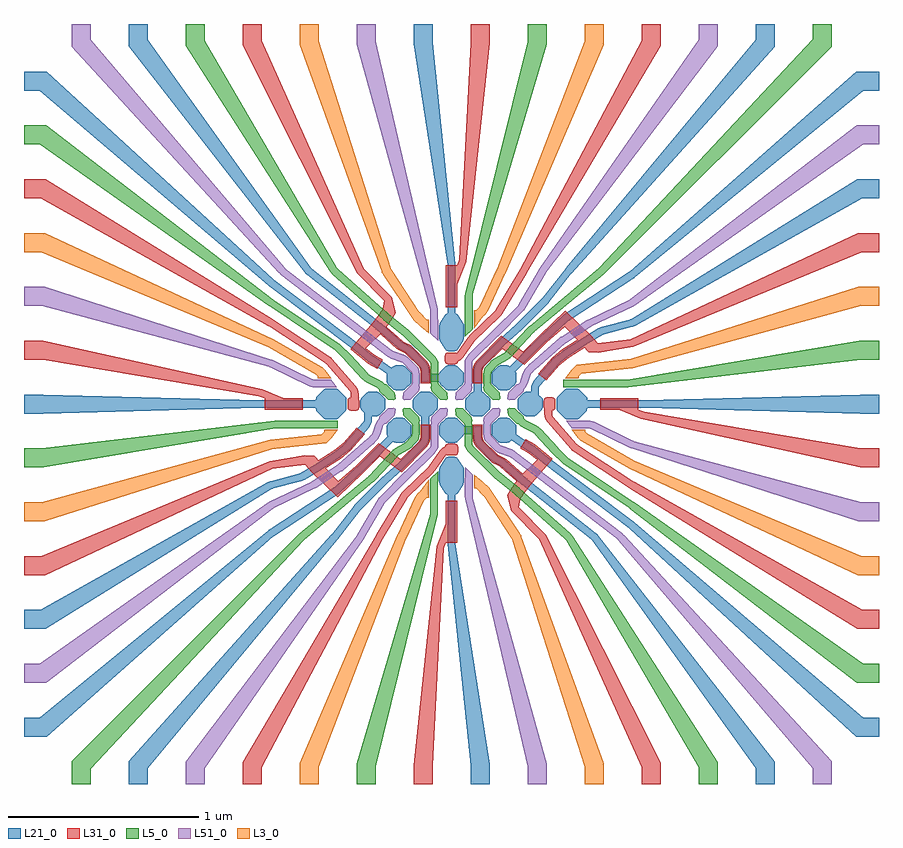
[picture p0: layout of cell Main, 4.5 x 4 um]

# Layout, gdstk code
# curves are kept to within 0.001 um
import gdstk
lib = gdstk.Library(unit=1e-6, precision=1e-09)
def R(c, l, rs):  # rectangles x0, y0, x1, y1
    for r in rs: c.add(gdstk.rectangle(r[:2], r[2:], *l))
def P(c, l, *ps):  # polygons
    for p in ps: c.add(gdstk.Polygon(p, *l))
L3_0 = (3, 0)
L5_0 = (5, 0)
L21_0 = (21, 0)
L31_0 = (31, 0)
L51_0 = (51, 0)

main = lib.new_cell('Main')
P(main, L3_0, [(-0.119,0.373),(-0.119,0.443),(-0.129,0.443),(-0.164,0.408)],
  [(0.119,0.398),(0.119,0.493),(0.129,0.493),(0.164,0.458)],
  [(0.599,0.135),(0.669,0.135),(0.669,0.145),(0.633,0.18)],
  [(0.634,-0.135),(0.704,-0.135),(0.704,-0.145),(0.668,-0.18)],
  [(-0.119,-0.398),(-0.119,-0.493),(-0.129,-0.493),(-0.164,-0.458)],
  [(0.119,-0.373),(0.119,-0.443),(0.129,-0.443),(0.164,-0.408)],
  [(-0.599,-0.135),(-0.669,-0.135),(-0.669,-0.145),(-0.633,-0.18)],
  [(-0.634,0.135),(-0.704,0.135),(-0.704,0.145),(-0.668,0.18)],
  [(-0.104,0.378),(-0.104,0.378),(-0.104,0.378),(-0.104,0.378),(-0.104,0.378),(-0.104,0.378),(-0.104,0.378),(-0.104,0.378),(-0.104,0.378)],
  [(0.104,0.378),(0.104,0.378),(0.104,0.378),(0.104,0.378),(0.104,0.378),(0.104,0.378),(0.104,0.378),(0.104,0.378),(0.104,0.378)],
  [(-0.644,-0.12),(-0.644,-0.12),(-0.644,-0.12),(-0.644,-0.12),(-0.644,-0.12),(-0.644,-0.12),(-0.644,-0.12),(-0.644,-0.12),(-0.644,-0.12)],
  [(-0.674,0.12),(-0.674,0.12),(-0.674,0.12),(-0.674,0.12),(-0.674,0.12),(-0.674,0.12),(-0.674,0.12),(-0.674,0.12),(-0.674,0.12)],
  [(0.104,-0.378),(0.104,-0.378),(0.104,-0.378),(0.104,-0.378),(0.104,-0.378),(0.104,-0.378),(0.104,-0.378),(0.104,-0.378),(0.104,-0.378)],
  [(-0.104,-0.378),(-0.104,-0.378),(-0.104,-0.378),(-0.104,-0.378),(-0.104,-0.378),(-0.104,-0.378),(-0.104,-0.378),(-0.104,-0.378),(-0.104,-0.378)],
  [(0.644,0.12),(0.644,0.12),(0.644,0.12),(0.644,0.12),(0.644,0.12),(0.644,0.12),(0.644,0.12),(0.644,0.12),(0.644,0.12)],
  [(0.674,-0.12),(0.674,-0.12),(0.674,-0.12),(0.674,-0.12),(0.674,-0.12),(0.674,-0.12),(0.674,-0.12),(0.674,-0.12),(0.674,-0.12)],
  [(-0.164,0.408),(-0.129,0.443),(-0.169,0.483),(-0.321,0.714),(-0.7,1.908),(-0.7,2),(-0.8,2),(-0.8,1.891),(-0.366,0.692),(-0.36,0.681),(-0.21,0.456),(-0.201,0.444)],
  [(0.129,0.493),(0.164,0.458),(0.184,0.478),(0.193,0.493),(0.285,0.689),(0.8,1.89),(0.8,2),(0.7,2),(0.7,1.909),(0.24,0.711),(0.148,0.514),(0.145,0.509)],
  [(0.704,-0.145),(0.668,-0.18),(0.681,-0.193),(0.938,-0.342),(2.139,-0.9),(2.25,-0.9),(2.25,-0.8),(2.16,-0.8),(0.961,-0.298),(0.711,-0.153)],
  [(0.633,0.18),(0.669,0.145),(0.682,0.159),(0.955,0.189),(2.157,0.517),(2.25,0.517),(2.25,0.617),(2.142,0.617),(0.945,0.238),(0.66,0.207)],
  [(0.164,-0.408),(0.129,-0.443),(0.169,-0.483),(0.321,-0.714),(0.7,-1.908),(0.7,-2),(0.8,-2),(0.8,-1.891),(0.366,-0.692),(0.36,-0.681),(0.21,-0.456),(0.201,-0.444)],
  [(-0.129,-0.493),(-0.164,-0.458),(-0.184,-0.478),(-0.193,-0.493),(-0.285,-0.689),(-0.8,-1.89),(-0.8,-2),(-0.7,-2),(-0.7,-1.909),(-0.24,-0.711),(-0.148,-0.514),(-0.145,-0.509)],
  [(-0.704,0.145),(-0.668,0.18),(-0.681,0.193),(-0.938,0.342),(-2.139,0.9),(-2.25,0.9),(-2.25,0.8),(-2.16,0.8),(-0.961,0.298),(-0.711,0.153)],
  [(-0.633,-0.18),(-0.669,-0.145),(-0.682,-0.159),(-0.955,-0.189),(-2.157,-0.517),(-2.25,-0.517),(-2.25,-0.617),(-2.142,-0.617),(-0.945,-0.238),(-0.66,-0.207)])
R(main, L5_0, [(-0.669,-0.127,-0.599,-0.088), (0.589,0.088,0.659,0.127)])
P(main, L5_0, [(0.167,0.086),(0.173,0.068),(0.217,0.023),(0.248,0.019),(0.257,0.028),(0.253,0.058),(0.208,0.103),(0.19,0.109),(0.178,0.106),(0.169,0.098)],
  [(-0.167,-0.086),(-0.173,-0.068),(-0.217,-0.023),(-0.248,-0.019),(-0.257,-0.028),(-0.253,-0.058),(-0.208,-0.103),(-0.19,-0.109),(-0.178,-0.106),(-0.169,-0.098)],
  [(-0.109,0.086),(-0.103,0.068),(-0.058,0.023),(-0.028,0.019),(-0.019,0.028),(-0.023,0.058),(-0.068,0.103),(-0.086,0.109),(-0.098,0.106),(-0.106,0.098)],
  [(0.109,-0.086),(0.103,-0.068),(0.058,-0.023),(0.028,-0.019),(0.019,-0.028),(0.023,-0.058),(0.068,-0.103),(0.086,-0.109),(0.098,-0.106),(0.106,-0.098)],
  [(-0.384,0.086),(-0.379,0.068),(-0.334,0.023),(-0.303,0.019),(-0.294,0.028),(-0.299,0.058),(-0.344,0.103),(-0.362,0.109),(-0.373,0.106),(-0.382,0.098)],
  [(0.384,-0.086),(0.379,-0.068),(0.334,-0.023),(0.303,-0.019),(0.294,-0.028),(0.299,-0.058),(0.344,-0.103),(0.362,-0.109),(0.373,-0.106),(0.382,-0.098)],
  [(0.071,0.353),(0.071,0.463),(0.111,0.463),(0.111,0.393)],
  [(-0.071,-0.353),(-0.072,-0.463),(-0.111,-0.463),(-0.111,-0.393)],
  [(0.071,0.418),(0.111,0.418),(0.112,0.576),(0.5,1.893),(0.5,2),(0.4,2),(0.4,1.906),(0.074,0.59),(0.071,0.571)],
  [(0.624,0.127),(0.624,0.088),(0.93,0.088),(2.153,0.233),(2.25,0.233),(2.25,0.333),(2.146,0.333),(0.924,0.128)],
  [(-0.072,-0.418),(-0.112,-0.418),(-0.112,-0.576),(-0.5,-1.893),(-0.5,-2),(-0.4,-2),(-0.4,-1.906),(-0.074,-0.59),(-0.072,-0.577)],
  [(-0.624,-0.128),(-0.624,-0.088),(-0.93,-0.088),(-2.153,-0.233),(-2.25,-0.233),(-2.25,-0.333),(-2.146,-0.333),(-0.924,-0.128)],
  [(-0.359,0.055),(-0.331,0.083),(-0.364,0.116),(-0.371,0.121),(-0.437,0.155),(-0.533,0.261),(-0.582,0.31),(-0.938,0.549),(-2.133,1.467),(-2.25,1.467),(-2.25,1.367),(-2.166,1.367),(-0.962,0.517),(-0.61,0.281),(-0.561,0.232),(-0.463,0.125),(-0.448,0.115),(-0.392,0.087)],
  [(-0.084,0.056),(-0.054,0.082),(-0.066,0.097),(-0.068,0.104),(-0.069,0.203),(-0.071,0.221),(-0.078,0.238),(-0.089,0.252),(-0.225,0.388),(-0.333,0.475),(-0.601,0.714),(-1.3,1.913),(-1.3,2),(-1.4,2),(-1.4,1.885),(-0.633,0.69),(-0.624,0.68),(-0.358,0.444),(-0.248,0.355),(-0.118,0.224),(-0.113,0.218),(-0.11,0.211),(-0.109,0.203),(-0.109,0.111),(-0.107,0.095),(-0.101,0.079)],
  [(0.192,0.056),(0.222,0.082),(0.21,0.097),(0.207,0.111),(0.208,0.163),(0.211,0.17),(0.216,0.176),(0.245,0.205),(0.296,0.233),(0.308,0.242),(0.433,0.377),(0.801,0.683),(2,1.879),(2,2),(1.9,2),(1.9,1.92),(0.777,0.715),(0.408,0.408),(0.282,0.272),(0.223,0.238),(0.213,0.23),(0.187,0.204),(0.176,0.19),(0.169,0.173),(0.167,0.155),(0.167,0.111),(0.169,0.095),(0.174,0.079)],
  [(-0.192,-0.056),(-0.222,-0.082),(-0.21,-0.097),(-0.207,-0.111),(-0.208,-0.163),(-0.211,-0.17),(-0.216,-0.176),(-0.245,-0.205),(-0.296,-0.233),(-0.308,-0.242),(-0.433,-0.377),(-0.801,-0.683),(-2,-1.879),(-2,-2),(-1.9,-2),(-1.9,-1.92),(-0.777,-0.715),(-0.408,-0.408),(-0.282,-0.272),(-0.223,-0.238),(-0.213,-0.23),(-0.187,-0.204),(-0.176,-0.19),(-0.169,-0.173),(-0.167,-0.155),(-0.167,-0.111),(-0.169,-0.095),(-0.174,-0.079)],
  [(-0.192,-0.056),(-0.222,-0.082),(-0.21,-0.097),(-0.207,-0.111),(-0.208,-0.163),(-0.211,-0.17),(-0.216,-0.176),(-0.245,-0.205),(-0.296,-0.233),(-0.308,-0.242),(-0.433,-0.377),(-0.801,-0.683),(-2,-1.879),(-2,-2),(-1.9,-2),(-1.9,-1.92),(-0.777,-0.715),(-0.408,-0.408),(-0.282,-0.272),(-0.223,-0.238),(-0.213,-0.23),(-0.187,-0.204),(-0.176,-0.19),(-0.169,-0.173),(-0.167,-0.155),(-0.167,-0.111),(-0.169,-0.095),(-0.174,-0.079)],
  [(0.084,-0.056),(0.054,-0.082),(0.066,-0.097),(0.068,-0.104),(0.069,-0.203),(0.071,-0.221),(0.078,-0.238),(0.089,-0.252),(0.225,-0.388),(0.333,-0.475),(0.601,-0.714),(1.3,-1.913),(1.3,-2),(1.4,-2),(1.4,-1.885),(0.633,-0.69),(0.624,-0.68),(0.358,-0.444),(0.248,-0.355),(0.118,-0.224),(0.113,-0.218),(0.11,-0.211),(0.109,-0.203),(0.109,-0.111),(0.107,-0.095),(0.101,-0.079)],
  [(0.359,-0.055),(0.331,-0.083),(0.364,-0.116),(0.371,-0.121),(0.437,-0.155),(0.533,-0.261),(0.582,-0.31),(0.938,-0.549),(2.133,-1.467),(2.25,-1.467),(2.25,-1.367),(2.166,-1.367),(0.962,-0.517),(0.61,-0.281),(0.561,-0.232),(0.463,-0.125),(0.448,-0.115),(0.392,-0.087)])
P(main, L21_0, [(-0.211,-0.111),(-0.247,-0.076),(-0.257,-0.073),(-0.3,-0.074),(-0.309,-0.079),(-0.338,-0.109),(-0.341,-0.119),(-0.341,-0.157),(-0.338,-0.167),(-0.309,-0.197),(-0.3,-0.202),(-0.257,-0.203),(-0.247,-0.2),(-0.213,-0.167),(-0.211,-0.162)],
  [(-0.211,0.165),(-0.247,0.2),(-0.257,0.203),(-0.3,0.202),(-0.309,0.197),(-0.338,0.167),(-0.341,0.157),(-0.341,0.119),(-0.338,0.109),(-0.309,0.079),(-0.3,0.074),(-0.257,0.073),(-0.247,0.076),(-0.213,0.109),(-0.211,0.114)],
  [(0.065,-0.111),(0.033,-0.079),(0.024,-0.074),(-0.019,-0.073),(-0.029,-0.076),(-0.059,-0.105),(-0.064,-0.114),(-0.065,-0.157),(-0.062,-0.167),(-0.033,-0.197),(-0.024,-0.202),(0.019,-0.203),(0.029,-0.2),(0.062,-0.167),(0.065,-0.157)],
  [(0.065,0.165),(0.033,0.197),(0.024,0.202),(-0.019,0.203),(-0.029,0.2),(-0.059,0.171),(-0.064,0.162),(-0.065,0.119),(-0.062,0.109),(-0.033,0.079),(-0.024,0.074),(0.019,0.073),(0.029,0.076),(0.062,0.109),(0.065,0.119)],
  [(0.341,-0.111),(0.309,-0.079),(0.3,-0.074),(0.257,-0.073),(0.247,-0.076),(0.213,-0.109),(0.211,-0.114),(0.211,-0.162),(0.213,-0.167),(0.247,-0.2),(0.257,-0.203),(0.3,-0.202),(0.309,-0.197),(0.338,-0.167),(0.341,-0.157)],
  [(0.341,0.165),(0.309,0.197),(0.3,0.202),(0.257,0.203),(0.247,0.2),(0.213,0.167),(0.211,0.162),(0.211,0.114),(0.213,0.109),(0.247,0.076),(0.257,0.073),(0.3,0.074),(0.309,0.079),(0.338,0.109),(0.341,0.119)],
  [(-0.349,0.027),(-0.381,0.059),(-0.39,0.064),(-0.432,0.065),(-0.442,0.062),(-0.473,0.033),(-0.478,0.024),(-0.479,-0.019),(-0.476,-0.029),(-0.446,-0.059),(-0.437,-0.064),(-0.395,-0.065),(-0.385,-0.062),(-0.351,-0.029),(-0.349,-0.024)],
  [(-0.073,0.027),(-0.105,0.059),(-0.114,0.064),(-0.157,0.065),(-0.167,0.062),(-0.197,0.033),(-0.202,0.024),(-0.203,-0.019),(-0.2,-0.029),(-0.171,-0.059),(-0.162,-0.064),(-0.119,-0.065),(-0.109,-0.062),(-0.076,-0.029),(-0.073,-0.019)],
  [(0.203,0.027),(0.171,0.059),(0.162,0.064),(0.119,0.065),(0.109,0.062),(0.079,0.033),(0.074,0.024),(0.073,-0.019),(0.076,-0.029),(0.105,-0.059),(0.114,-0.064),(0.157,-0.065),(0.167,-0.062),(0.2,-0.029),(0.203,-0.019)],
  [(0.479,0.027),(0.446,0.059),(0.437,0.064),(0.395,0.065),(0.385,0.062),(0.351,0.029),(0.349,0.024),(0.349,-0.024),(0.351,-0.029),(0.381,-0.059),(0.39,-0.064),(0.432,-0.065),(0.442,-0.062),(0.476,-0.029),(0.479,-0.019)],
  [(0.064,0.419),(0.029,0.473),(0.016,0.478),(-0.016,0.478),(-0.029,0.473),(-0.061,0.424),(-0.064,0.413),(-0.063,0.337),(-0.032,0.287),(-0.025,0.28),(-0.016,0.278),(0.016,0.278),(0.025,0.28),(0.032,0.287),(0.061,0.332),(0.064,0.342)],
  [(-0.554,0.033),(-0.595,0.074),(-0.604,0.079),(-0.659,0.08),(-0.669,0.077),(-0.708,0.039),(-0.713,0.03),(-0.714,-0.025),(-0.711,-0.035),(-0.673,-0.074),(-0.664,-0.079),(-0.609,-0.08),(-0.599,-0.077),(-0.556,-0.035),(-0.554,-0.03)],
  [(0.064,-0.336),(0.032,-0.287),(0.025,-0.28),(0.016,-0.278),(-0.016,-0.278),(-0.025,-0.28),(-0.032,-0.287),(-0.063,-0.337),(-0.064,-0.413),(-0.061,-0.424),(-0.029,-0.473),(-0.016,-0.478),(0.016,-0.478),(0.029,-0.473),(0.032,-0.469),(0.063,-0.419)],
  [(0.714,0.033),(0.673,0.074),(0.664,0.079),(0.609,0.08),(0.599,0.077),(0.556,0.035),(0.554,0.03),(0.554,-0.03),(0.556,-0.035),(0.595,-0.074),(0.604,-0.079),(0.659,-0.08),(0.669,-0.077),(0.711,-0.035),(0.714,-0.025)],
  [(-0.02,0.378),(0.02,0.378),(0.02,0.736),(-0.1,1.902),(-0.1,2),(-0.2,2),(-0.2,1.896),(-0.02,0.734)],
  [(0.634,0.02),(0.634,-0.02),(1.014,-0.02),(2.15,-0.05),(2.25,-0.05),(2.25,0.05),(2.15,0.05),(1.014,0.02)],
  [(0.02,-0.378),(-0.02,-0.378),(-0.02,-0.736),(0.1,-1.902),(0.1,-2),(0.2,-2),(0.2,-1.896),(0.02,-0.734)],
  [(-0.634,-0.02),(-0.634,0.02),(-1.014,0.02),(-2.15,0.05),(-2.25,0.05),(-2.25,-0.05),(-2.15,-0.05),(-1.014,-0.02)],
  [(-0.287,0.122),(-0.264,0.154),(-0.364,0.224),(-0.414,0.254),(-0.479,0.308),(-0.937,0.655),(-2.131,1.75),(-2.25,1.75),(-2.25,1.65),(-2.168,1.65),(-0.965,0.626),(-0.505,0.277),(-0.439,0.223),(-0.386,0.191)],
  [(0,0.118),(0,0.158),(-0.118,0.158),(-0.118,0.154),(-0.118,0.176),(-0.12,0.194),(-0.127,0.211),(-0.138,0.226),(-0.207,0.295),(-0.224,0.307),(-0.256,0.324),(-0.373,0.426),(-0.738,0.713),(-1.6,1.916),(-1.6,2),(-1.7,2),(-1.7,1.883),(-0.765,0.684),(-0.398,0.395),(-0.28,0.292),(-0.24,0.27),(-0.162,0.191),(-0.159,0.184),(-0.158,0.176),(-0.158,0.118)],
  [(0.262,0.152),(0.29,0.124),(0.498,0.331),(0.613,0.436),(0.961,0.663),(2.168,1.65),(2.25,1.65),(2.25,1.75),(2.131,1.75),(0.938,0.696),(0.585,0.465),(0.47,0.36)],
  [(-0.419,0),(-0.459,0),(-0.459,-0.079),(-0.462,-0.093),(-0.565,-0.212),(-0.614,-0.251),(-0.797,-0.366),(-0.954,-0.407),(-0.966,-0.413),(-2.163,-1.083),(-2.25,-1.083),(-2.25,-1.183),(-2.136,-1.183),(-0.946,-0.447),(-0.786,-0.405),(-0.773,-0.399),(-0.591,-0.284),(-0.536,-0.24),(-0.436,-0.125),(-0.427,-0.111),(-0.421,-0.096),(-0.419,-0.079)],
  [(0.419,0),(0.459,0),(0.459,0.079),(0.462,0.093),(0.565,0.212),(0.614,0.251),(0.797,0.366),(0.954,0.407),(0.966,0.413),(2.163,1.083),(2.25,1.083),(2.25,1.183),(2.136,1.183),(0.946,0.447),(0.786,0.405),(0.773,0.399),(0.591,0.284),(0.536,0.24),(0.436,0.125),(0.427,0.111),(0.421,0.096),(0.419,0.079)],
  [(0.118,0),(0.158,0),(0.158,0.176),(0.159,0.184),(0.162,0.191),(0.281,0.312),(0.369,0.391),(0.509,0.53),(0.631,0.687),(1.7,1.881),(1.7,2),(1.6,2),(1.6,1.918),(0.6,0.712),(0.481,0.559),(0.343,0.421),(0.254,0.342),(0.138,0.226),(0.127,0.211),(0.12,0.194),(0.118,0.176)],
  [(-0.118,0),(-0.158,0),(-0.158,-0.176),(-0.159,-0.184),(-0.162,-0.191),(-0.281,-0.312),(-0.369,-0.391),(-0.509,-0.53),(-0.631,-0.687),(-1.7,-1.881),(-1.7,-2),(-1.6,-2),(-1.6,-1.918),(-0.6,-0.712),(-0.481,-0.559),(-0.343,-0.421),(-0.254,-0.342),(-0.138,-0.226),(-0.127,-0.211),(-0.12,-0.194),(-0.118,-0.176)],
  [(-0.262,-0.152),(-0.29,-0.124),(-0.498,-0.331),(-0.613,-0.436),(-0.961,-0.663),(-2.168,-1.65),(-2.25,-1.65),(-2.25,-1.75),(-2.131,-1.75),(-0.938,-0.696),(-0.585,-0.465),(-0.47,-0.36)],
  [(-0.262,-0.152),(-0.29,-0.124),(-0.498,-0.331),(-0.613,-0.436),(-0.961,-0.663),(-2.168,-1.65),(-2.25,-1.65),(-2.25,-1.75),(-2.131,-1.75),(-0.938,-0.696),(-0.585,-0.465),(-0.47,-0.36)],
  [(0,-0.118),(0,-0.158),(0.118,-0.158),(0.118,-0.154),(0.118,-0.176),(0.12,-0.194),(0.127,-0.211),(0.138,-0.226),(0.207,-0.295),(0.224,-0.307),(0.256,-0.324),(0.373,-0.426),(0.738,-0.713),(1.6,-1.916),(1.6,-2),(1.7,-2),(1.7,-1.883),(0.765,-0.684),(0.398,-0.395),(0.28,-0.292),(0.24,-0.27),(0.162,-0.191),(0.159,-0.184),(0.158,-0.176),(0.158,-0.118)],
  [(0.287,-0.122),(0.264,-0.154),(0.364,-0.224),(0.414,-0.254),(0.479,-0.308),(0.937,-0.655),(2.131,-1.75),(2.25,-1.75),(2.25,-1.65),(2.168,-1.65),(0.965,-0.626),(0.505,-0.277),(0.439,-0.223),(0.386,-0.191)])
R(main, L31_0, [(-0.03,-0.73,0.03,-0.508), (-0.984,-0.03,-0.784,0.03), (0.784,-0.03,0.984,0.03), (-0.03,0.508,0.03,0.73)])
P(main, L31_0, [(-0.035,0.225),(-0.031,0.215),(-0.028,0.212),(-0.02,0.21),(0.02,0.21),(0.028,0.212),(0.033,0.218),(0.035,0.225),(0.035,0.255),(0.033,0.263),(0.031,0.266),(0.024,0.27),(-0.024,0.27),(-0.028,0.268),(-0.033,0.263),(-0.035,0.255)],
  [(-0.035,-0.225),(-0.031,-0.215),(-0.028,-0.212),(-0.02,-0.21),(0.02,-0.21),(0.027,-0.212),(0.033,-0.218),(0.035,-0.225),(0.035,-0.255),(0.033,-0.263),(0.031,-0.266),(0.024,-0.27),(-0.024,-0.27),(-0.028,-0.268),(-0.033,-0.263),(-0.035,-0.255)],
  [(0.546,0.02),(0.546,0.024),(0.542,0.031),(0.531,0.035),(0.501,0.035),(0.491,0.031),(0.488,0.028),(0.486,0.02),(0.486,-0.02),(0.488,-0.028),(0.494,-0.033),(0.501,-0.035),(0.531,-0.035),(0.542,-0.031),(0.546,-0.024)],
  [(-0.546,0.02),(-0.546,0.024),(-0.542,0.031),(-0.531,0.035),(-0.501,0.035),(-0.491,0.031),(-0.488,0.027),(-0.486,0.02),(-0.486,-0.02),(-0.488,-0.028),(-0.494,-0.033),(-0.501,-0.035),(-0.531,-0.035),(-0.542,-0.031),(-0.546,-0.024)],
  [(-0.391,0.185),(-0.363,0.232),(-0.407,0.259),(-0.451,0.294),(-0.357,0.386),(-0.317,0.441),(-0.293,0.479),(-0.314,0.562),(-0.462,0.712),(-1,1.911),(-1,2),(-1.1,2),(-1.1,1.888),(-0.496,0.688),(-0.353,0.544),(-0.362,0.501),(-0.375,0.481),(-0.412,0.43),(-0.531,0.288),(-0.438,0.213)],
  [(-0.163,0.154),(-0.163,0.108),(-0.113,0.108),(-0.113,0.172),(-0.115,0.195),(-0.123,0.214),(-0.134,0.228),(-0.215,0.308),(-0.256,0.33),(-0.367,0.428),(-0.4,0.39),(-0.287,0.291),(-0.238,0.262),(-0.166,0.189),(-0.164,0.183)],
  [(-0.457,-0.16),(-0.498,-0.124),(-0.568,-0.204),(-0.616,-0.243),(-0.725,-0.312),(-0.696,-0.359),(-0.583,-0.287),(-0.529,-0.243)],
  [(-0.113,-0.108),(-0.163,-0.108),(-0.163,-0.175),(-0.166,-0.189),(-0.268,-0.292),(-0.382,-0.207),(-0.501,-0.324),(-0.596,-0.407),(-0.722,-0.273),(-0.772,-0.27),(-0.956,-0.301),(-2.16,-0.8),(-2.25,-0.8),(-2.25,-0.9),(-2.139,-0.9),(-0.944,-0.34),(-0.769,-0.32),(-0.736,-0.36),(-0.599,-0.492),(-0.464,-0.363),(-0.377,-0.275),(-0.263,-0.358),(-0.134,-0.228),(-0.123,-0.214),(-0.115,-0.196),(-0.113,-0.178)],
  [(0.113,0.108),(0.163,0.108),(0.163,0.175),(0.166,0.189),(0.268,0.292),(0.382,0.207),(0.501,0.324),(0.596,0.407),(0.722,0.273),(0.772,0.27),(0.956,0.301),(2.16,0.8),(2.25,0.8),(2.25,0.9),(2.139,0.9),(0.944,0.34),(0.769,0.32),(0.736,0.36),(0.599,0.492),(0.464,0.363),(0.377,0.275),(0.263,0.358),(0.134,0.228),(0.123,0.214),(0.115,0.196),(0.113,0.178)],
  [(0.457,0.16),(0.498,0.124),(0.568,0.204),(0.616,0.243),(0.725,0.312),(0.696,0.359),(0.583,0.287),(0.529,0.243)],
  [(0.163,-0.154),(0.163,-0.108),(0.113,-0.108),(0.113,-0.172),(0.115,-0.195),(0.123,-0.214),(0.134,-0.228),(0.215,-0.308),(0.256,-0.33),(0.367,-0.428),(0.4,-0.39),(0.287,-0.291),(0.238,-0.262),(0.166,-0.189),(0.164,-0.183)],
  [(0.391,-0.185),(0.363,-0.232),(0.407,-0.259),(0.451,-0.294),(0.357,-0.386),(0.317,-0.441),(0.293,-0.479),(0.314,-0.562),(0.462,-0.712),(1,-1.911),(1,-2),(1.1,-2),(1.1,-1.888),(0.496,-0.688),(0.353,-0.544),(0.362,-0.501),(0.375,-0.481),(0.412,-0.43),(0.531,-0.288),(0.438,-0.213)],
  [(0.078,0.748),(0.03,0.63),(0.03,0.73),(0.04,0.76),(0.1,1.9),(0.1,2),(0.2,2),(0.2,1.9)],
  [(0.996,-0.077),(0.884,-0.03),(0.984,-0.03),(1.014,-0.04),(2.15,-0.233),(2.25,-0.233),(2.25,-0.333),(2.15,-0.333)],
  [(-0.996,0.077),(-0.884,0.03),(-0.984,0.03),(-1.014,0.04),(-2.15,0.233),(-2.25,0.233),(-2.25,0.333),(-2.15,0.333)],
  [(-0.078,-0.748),(-0.03,-0.63),(-0.03,-0.73),(-0.04,-0.76),(-0.1,-1.9),(-0.1,-2),(-0.2,-2),(-0.2,-1.9)],
  [(0,0.258),(0,0.218),(0.026,0.221),(0.046,0.231),(0.061,0.247),(0.121,0.33),(0.265,0.471),(0.397,0.69),(1.1,1.886),(1.1,2),(1,2),(1,1.912),(0.362,0.71),(0.233,0.494),(0.09,0.355),(0.029,0.27),(0.014,0.259)],
  [(0.529,0),(0.489,0),(0.489,-0.051),(0.491,-0.068),(0.497,-0.083),(0.506,-0.097),(0.636,-0.245),(0.941,-0.445),(2.136,-1.183),(2.25,-1.183),(2.25,-1.083),(2.163,-1.083),(0.96,-0.41),(0.663,-0.215),(0.657,-0.21),(0.532,-0.065),(0.529,-0.051)],
  [(0,-0.258),(0,-0.218),(-0.026,-0.221),(-0.046,-0.231),(-0.061,-0.247),(-0.121,-0.33),(-0.265,-0.471),(-0.397,-0.69),(-1.1,-1.886),(-1.1,-2),(-1,-2),(-1,-1.912),(-0.362,-0.71),(-0.233,-0.494),(-0.09,-0.355),(-0.029,-0.27),(-0.014,-0.259)],
  [(-0.529,0),(-0.489,0),(-0.489,0.051),(-0.491,0.068),(-0.497,0.083),(-0.506,0.097),(-0.636,0.245),(-0.941,0.445),(-2.136,1.183),(-2.25,1.183),(-2.25,1.083),(-2.163,1.083),(-0.96,0.41),(-0.663,0.215),(-0.657,0.21),(-0.532,0.065),(-0.529,0.051)])
P(main, L51_0, [(-0.217,0.023),(-0.173,0.068),(-0.167,0.086),(-0.169,0.098),(-0.178,0.106),(-0.19,0.109),(-0.208,0.103),(-0.253,0.058),(-0.257,0.028),(-0.248,0.019)],
  [(0.217,-0.023),(0.173,-0.068),(0.167,-0.086),(0.169,-0.098),(0.178,-0.106),(0.19,-0.109),(0.208,-0.103),(0.253,-0.058),(0.257,-0.028),(0.248,-0.019)],
  [(0.058,0.023),(0.103,0.068),(0.109,0.086),(0.106,0.098),(0.098,0.106),(0.086,0.109),(0.068,0.103),(0.023,0.058),(0.019,0.028),(0.028,0.019)],
  [(-0.058,-0.023),(-0.103,-0.068),(-0.109,-0.086),(-0.106,-0.098),(-0.098,-0.106),(-0.086,-0.109),(-0.068,-0.103),(-0.023,-0.058),(-0.019,-0.028),(-0.028,-0.019)],
  [(0.334,0.023),(0.379,0.068),(0.384,0.086),(0.382,0.098),(0.373,0.106),(0.362,0.109),(0.344,0.103),(0.299,0.058),(0.294,0.028),(0.303,0.019)],
  [(-0.334,-0.023),(-0.379,-0.068),(-0.384,-0.086),(-0.382,-0.098),(-0.373,-0.106),(-0.362,-0.109),(-0.344,-0.103),(-0.299,-0.058),(-0.294,-0.028),(-0.303,-0.019)],
  [(-0.111,0.373),(-0.111,0.443),(-0.071,0.443),(-0.071,0.333)],
  [(-0.604,0.088),(-0.704,0.088),(-0.704,0.127),(-0.634,0.127)],
  [(0.111,-0.373),(0.111,-0.443),(0.071,-0.443),(0.072,-0.333)],
  [(0.604,-0.088),(0.704,-0.088),(0.704,-0.127),(0.634,-0.127)],
  [(-0.111,0.398),(-0.071,0.398),(-0.072,0.503),(-0.4,1.906),(-0.4,2),(-0.5,2),(-0.5,1.893),(-0.112,0.499)],
  [(0.661,-0.088),(0.661,-0.127),(0.724,-0.128),(0.733,-0.13),(0.948,-0.234),(2.142,-0.617),(2.25,-0.617),(2.25,-0.517),(2.157,-0.517),(0.958,-0.195),(0.75,-0.094),(0.73,-0.088)],
  [(0.111,-0.398),(0.071,-0.398),(0.072,-0.503),(0.4,-1.906),(0.4,-2),(0.5,-2),(0.5,-1.893),(0.112,-0.499)],
  [(-0.661,0.087),(-0.661,0.127),(-0.72,0.127),(-0.733,0.13),(-0.948,0.234),(-2.142,0.617),(-2.25,0.617),(-2.25,0.517),(-2.157,0.517),(-0.958,0.195),(-0.75,0.094),(-0.73,0.088),(-0.72,0.087)],
  [(-0.222,0.082),(-0.192,0.056),(-0.174,0.079),(-0.169,0.095),(-0.167,0.111),(-0.167,0.155),(-0.169,0.173),(-0.176,0.19),(-0.187,0.204),(-0.225,0.242),(-0.241,0.254),(-0.311,0.281),(-0.877,0.715),(-1.9,1.918),(-1.9,2),(-2,2),(-2,1.881),(-0.908,0.69),(-0.902,0.684),(-0.335,0.25),(-0.323,0.242),(-0.264,0.221),(-0.253,0.214),(-0.216,0.176),(-0.211,0.17),(-0.208,0.163),(-0.208,0.104),(-0.21,0.097)],
  [(0.054,0.082),(0.084,0.056),(0.092,0.066),(0.101,0.079),(0.107,0.095),(0.109,0.111),(0.109,0.211),(0.113,0.227),(0.245,0.356),(0.386,0.499),(0.496,0.69),(1.4,1.883),(1.4,2),(1.3,2),(1.3,1.916),(0.463,0.712),(0.353,0.522),(0.217,0.385),(0.09,0.262),(0.079,0.247),(0.071,0.23),(0.069,0.211),(0.068,0.104),(0.066,0.097)],
  [(0.331,0.083),(0.359,0.055),(0.384,0.08),(0.397,0.098),(0.418,0.159),(0.443,0.184),(0.6,0.321),(0.734,0.407),(0.954,0.513),(0.966,0.52),(2.166,1.367),(2.25,1.367),(2.25,1.467),(2.133,1.467),(0.942,0.552),(0.716,0.443),(0.573,0.351),(0.413,0.211),(0.393,0.191),(0.38,0.172),(0.359,0.112)],
  [(-0.331,-0.083),(-0.359,-0.055),(-0.384,-0.08),(-0.397,-0.098),(-0.418,-0.159),(-0.443,-0.184),(-0.6,-0.321),(-0.734,-0.407),(-0.954,-0.513),(-0.966,-0.52),(-2.166,-1.367),(-2.25,-1.367),(-2.25,-1.467),(-2.133,-1.467),(-0.942,-0.552),(-0.716,-0.443),(-0.573,-0.351),(-0.413,-0.211),(-0.393,-0.191),(-0.38,-0.172),(-0.359,-0.112)],
  [(-0.054,-0.082),(-0.084,-0.056),(-0.092,-0.066),(-0.101,-0.079),(-0.107,-0.095),(-0.109,-0.111),(-0.109,-0.211),(-0.113,-0.227),(-0.245,-0.356),(-0.386,-0.499),(-0.496,-0.69),(-1.4,-1.883),(-1.4,-2),(-1.3,-2),(-1.3,-1.916),(-0.463,-0.712),(-0.353,-0.522),(-0.217,-0.385),(-0.09,-0.262),(-0.079,-0.247),(-0.071,-0.23),(-0.069,-0.211),(-0.068,-0.104),(-0.066,-0.097)],
  [(0.222,-0.082),(0.192,-0.056),(0.174,-0.079),(0.169,-0.095),(0.167,-0.111),(0.167,-0.155),(0.169,-0.173),(0.176,-0.19),(0.187,-0.204),(0.225,-0.242),(0.241,-0.254),(0.311,-0.281),(0.877,-0.715),(1.9,-1.918),(1.9,-2),(2,-2),(2,-1.881),(0.908,-0.69),(0.902,-0.684),(0.335,-0.25),(0.323,-0.242),(0.264,-0.221),(0.253,-0.214),(0.216,-0.176),(0.211,-0.17),(0.208,-0.163),(0.208,-0.104),(0.21,-0.097)])

lib.write_gds('Main.gds')
